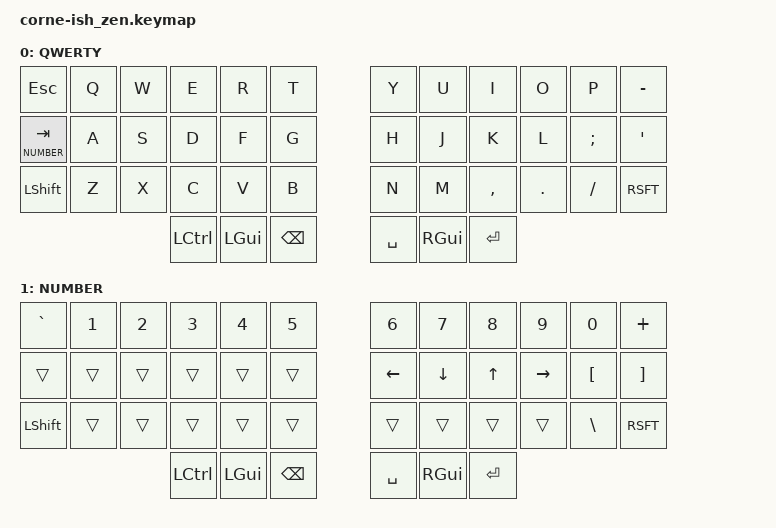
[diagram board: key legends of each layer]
/*
*
* Copyright (c) 2021 lowprokb.ca
* SPDX-License-Identifier: MIT
*
*/

#include <behaviors.dtsi>
#include <dt-bindings/zmk/keys.h>
#include <dt-bindings/zmk/bt.h>

#define QWERTY 0
#define NUMBER 1

/ {
        keymap {
                compatible = "zmk,keymap";
                default_layer {
                        label = "QWERTY";
                        bindings = <
   &kp ESC        &kp Q &kp W &kp E &kp R &kp T   &kp Y &kp U  &kp I     &kp O   &kp P    &kp MINUS
   &lt NUMBER TAB &kp A &kp S &kp D &kp F &kp G   &kp H &kp J  &kp K     &kp L   &kp SEMI &kp SQT
   &kp LSHFT      &kp Z &kp X &kp C &kp V &kp B   &kp N &kp M  &kp COMMA &kp DOT &kp FSLH &kp RSFT
                  &kp LCTL &kp LGUI &kp BSPC      &kp SPC &kp RGUI &kp ENTER
                        >;
                };

                number_layer {
                        label = "NUMBER";
                        bindings = <
   &kp GRAVE &kp N1 &kp N2 &kp N3 &kp N4 &kp N5   &kp N6   &kp N7   &kp N8 &kp N9    &kp N0   &kp PLUS
   &trans    &trans &trans &trans &trans &trans   &kp LEFT &kp DOWN &kp UP &kp RIGHT &kp LBKT &kp RBKT
   &kp LSHFT &trans &trans &trans &trans &trans   &trans   &trans   &trans &trans    &kp BSLH &kp RSFT
                    &kp LCTL &kp LGUI &kp BSPC    &kp SPC &kp RGUI &kp ENTER
                        >;
                };

        };
};
